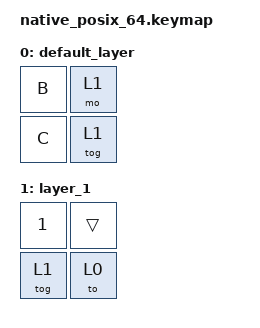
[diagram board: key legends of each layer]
#include <dt-bindings/zmk/keys.h>
#include <behaviors.dtsi>
#include <dt-bindings/zmk/kscan_mock.h>

/* (0,1) is transparent inside layer 1, so &mo 1 can be pressed on the locked layer. */
/ {
    layer_idle_lock {
        compatible = "zmk,layer-idle-lock";

        lock_1 {
            layer = <1>;
            idle-ms = <500>;
            enter = <&kp F13>;
            exit = <&kp F14>;
            triggers-on-any-lock;
        };
    };

    keymap {
        compatible = "zmk,keymap";

        default_layer {
            bindings = <
                &kp B  &mo 1
                &kp C  &tog 1>;
        };

        layer_1 {
            bindings = <
                &kp N1  &trans
                &tog 1  &to 0>;
        };
    };
};

&kscan {
    events = <
        /* &tog 1 from the base layer: locked, F13 */
        ZMK_MOCK_PRESS(1,1,10)
        ZMK_MOCK_RELEASE(1,1,10)
        /* &mo 1 held past idle-ms on the locked layer: not armed, no second F13 */
        ZMK_MOCK_PRESS(0,1,800)
        /* its release cannot turn off the locked layer */
        ZMK_MOCK_RELEASE(0,1,10)
        ZMK_MOCK_PRESS(0,0,10)
        ZMK_MOCK_RELEASE(0,0,10)
        /* &tog 1 inside layer 1: off, one F14 */
        ZMK_MOCK_PRESS(1,0,10)
        ZMK_MOCK_RELEASE(1,0,10)
        ZMK_MOCK_PRESS(0,0,10)
        ZMK_MOCK_RELEASE(0,0,10)
    >;
};
